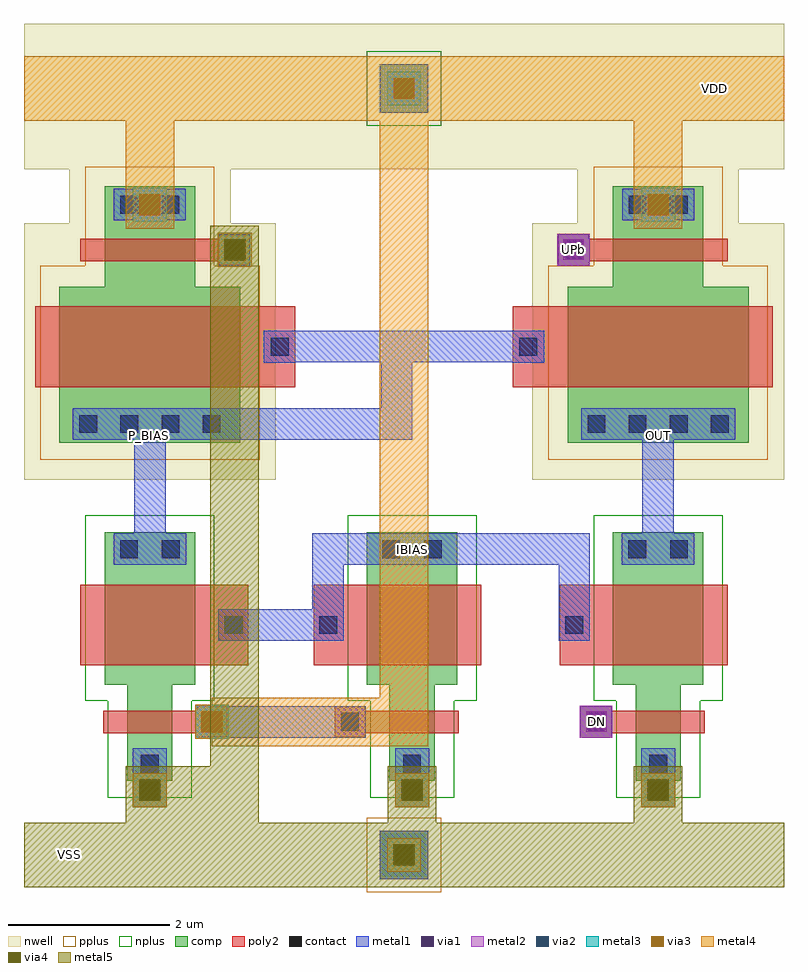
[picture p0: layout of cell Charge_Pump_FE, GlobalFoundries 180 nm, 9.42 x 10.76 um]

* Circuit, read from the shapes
.subckt Charge_Pump_FE DN IBIAS OUT P_BIAS UPb VDD VSS
XM1 P_BIAS IBIAS n1 VSS nfet_03v3 w=1.12u l=1u
XM2 n1 VDD VSS VSS nfet_03v3 w=0.56u l=0.28u
XM3 IBIAS IBIAS n2 VSS nfet_03v3 w=1.12u l=1u
XM4 n2 VDD VSS VSS nfet_03v3 w=0.56u l=0.28u
XM5 OUT IBIAS n3 VSS nfet_03v3 w=1.12u l=1u
XM6 n3 DN VSS VSS nfet_03v3 w=0.56u l=0.28u
XM7 n4 P_BIAS P_BIAS VDD pfet_03v3 w=2.24u l=1u
XM8 VDD VSS n4 VDD pfet_03v3 w=1.12u l=0.28u
XM9 n5 P_BIAS OUT VDD pfet_03v3 w=2.24u l=1u
XM10 VDD UPb n5 VDD pfet_03v3 w=1.12u l=0.28u
.ends

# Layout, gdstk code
from math import pi, radians
import gdstk
lib = gdstk.Library(unit=1e-6, precision=1e-09)
def R(c, l, rs):  # rectangles x0, y0, x1, y1
    for r in rs: c.add(gdstk.rectangle(r[:2], r[2:], *l))
def A(c, l, x, y, w, h, nx, ny, dx, dy):  # array of equal rectangles
    R(c, l, [(x+i*dx, y+j*dy, x+i*dx+w, y+j*dy+h) for i in range(nx) for j in range(ny)])
nwell = (21, 0)
comp = (22, 0)
poly2 = (30, 0)
pplus = (31, 0)
nplus = (32, 0)
contact = (33, 0)
metal1 = (34, 0)
via1 = (35, 0)
metal2 = (36, 0)
via2 = (38, 0)
via3 = (40, 0)
via4 = (41, 0)
metal3 = (42, 0)
metal4 = (46, 0)
metal5 = (81, 0)

nmos_shared_diffusion = lib.new_cell('NMOS_Shared_Diffusion')
R(nmos_shared_diffusion, comp, [(-0.56,-0.75,0.56,-0.33), (-0.56,-0.33,0.56,1.14), (-0.28,0.83,0.28,1.25), (-0.28,1.25,0.28,1.91), (-0.28,1.91,0.28,2.33)])
R(nmos_shared_diffusion, poly2, [(-0.86,-0.1,0.86,0.9), (0.86,-0.1,1.22,0.9), (0.58,1.41,0.96,1.79), (-0.58,1.46,0.58,1.74)])
R(nmos_shared_diffusion, nplus, [(-0.8,-0.96,0.8,1.34), (-0.52,0.66,0.52,2.54)])
R(nmos_shared_diffusion, contact, [(-0.37,-0.65,-0.15,-0.43), (0.15,-0.65,0.37,-0.43), (0.93,0.29,1.15,0.51), (0.66,1.49,0.88,1.71), (-0.11,2.01,0.11,2.23)])
R(nmos_shared_diffusion, metal1, [(-0.45,-0.735,0.45,-0.345), (0.845,0.205,1.235,0.595), (0.575,1.405,0.965,1.795), (-0.195,1.93,0.195,2.32)])

pmos_shared_diffusion = lib.new_cell('PMOS_Shared_Diffusion')
R(pmos_shared_diffusion, nwell, [(-1,-1.3,1,1.2), (-1.56,-0.33,1.56,2.85)])
R(pmos_shared_diffusion, comp, [(-0.56,-0.79,0.56,-0.33), (-0.56,-0.33,0.56,0.33), (-0.56,0.33,0.56,0.79), (-1.12,0.46,1.12,1.93), (-1.12,1.93,1.12,2.39)])
R(pmos_shared_diffusion, poly2, [(0.86,-0.19,1.24,0.19), (-0.86,-0.14,0.86,0.14), (-1.42,0.7,1.42,1.7), (1.42,0.7,1.8,1.7)])
R(pmos_shared_diffusion, pplus, [(-0.8,-1.03,0.8,0.93), (-1.36,0.2,1.36,2.6)])
A(pmos_shared_diffusion, contact, -0.875, 2.05, 0.22, 0.22, 4, 1, 0.51, 0)
R(pmos_shared_diffusion, contact, [(-0.365,-0.67,-0.145,-0.45), (0.145,-0.67,0.365,-0.45), (0.94,-0.11,1.16,0.11), (1.5,1.09,1.72,1.31)])
R(pmos_shared_diffusion, metal1, [(-0.445,-0.755,0.445,-0.365), (0.855,-0.195,1.245,0.195), (1.41,1,1.81,1.4), (-0.955,1.965,0.955,2.355)])

charge_pump_block = lib.new_cell('Charge_Pump_Block')
charge_pump_block.add(gdstk.FlexPath([(0,-0.925),(0,0.69)], 0.39, ends="flush", simple_path=True, layer=34, datatype=0))  # metal1
charge_pump_block.add(gdstk.Reference(nmos_shared_diffusion, (0,-1.45), rotation=pi))
charge_pump_block.add(gdstk.Reference(pmos_shared_diffusion, (0,2.8), rotation=pi))

supply_and_tap_repairs = lib.new_cell('Supply_and_Tap_Repairs')
R(supply_and_tap_repairs, nwell, [(-4.56,3.3,4.86,5.1)])
R(supply_and_tap_repairs, comp, [(-0.15,-5.5,0.45,-4.9), (-0.15,4,0.45,4.6)])
R(supply_and_tap_repairs, pplus, [(-0.31,-5.66,0.61,-4.74)])
R(supply_and_tap_repairs, nplus, [(-0.31,3.84,0.61,4.76)])
R(supply_and_tap_repairs, contact, [(0.04,-5.31,0.26,-5.09), (0.04,4.19,0.26,4.41)])
R(supply_and_tap_repairs, metal1, [(-0.15,-5.5,0.45,-4.9), (-0.06,-5.41,0.36,-4.99), (-3.21,-4.61,-2.79,-4.19), (-3.21,-4.61,-2.79,-3.88), (0.04,-4.61,0.46,-4.19), (0.04,-4.61,0.46,-3.88), (3.09,-4.61,3.51,-4.19), (3.09,-4.61,3.51,-3.88), (-2.44,-3.76,-2.02,-3.34), (-3.21,2.65,-2.79,3.07), (3.09,2.65,3.51,3.07), (-0.15,4,0.45,4.6), (-0.06,4.09,0.36,4.51)])
R(supply_and_tap_repairs, via1, [(0.02,-5.33,0.28,-5.07), (-3.13,-4.53,-2.87,-4.27), (0.12,-4.53,0.38,-4.27), (3.17,-4.53,3.43,-4.27), (-2.36,-3.68,-2.1,-3.42), (-3.13,2.73,-2.87,2.99), (3.17,2.73,3.43,2.99), (0.02,4.17,0.28,4.43)])
R(supply_and_tap_repairs, metal2, [(-0.06,-5.41,0.36,-4.99), (-3.21,-4.61,-2.79,-4.19), (0.04,-4.61,0.46,-4.19), (3.09,-4.61,3.51,-4.19), (-2.44,-3.76,-2.02,-3.34), (-2.16,2.09,-1.74,2.51), (-3.21,2.65,-2.79,3.07), (3.09,2.65,3.51,3.07), (-0.06,4.09,0.36,4.51)])
R(supply_and_tap_repairs, via2, [(0.02,-5.33,0.28,-5.07), (-3.13,-4.53,-2.87,-4.27), (0.12,-4.53,0.38,-4.27), (3.17,-4.53,3.43,-4.27), (-2.36,-3.68,-2.1,-3.42), (-2.08,2.17,-1.82,2.43), (-3.13,2.73,-2.87,2.99), (3.17,2.73,3.43,2.99), (0.02,4.17,0.28,4.43)])
R(supply_and_tap_repairs, via3, [(0.02,-5.33,0.28,-5.07), (-3.13,-4.53,-2.87,-4.27), (0.12,-4.53,0.38,-4.27), (3.17,-4.53,3.43,-4.27), (-2.36,-3.68,-2.1,-3.42), (-2.08,2.17,-1.82,2.43), (-3.13,2.73,-2.87,2.99), (3.17,2.73,3.43,2.99), (0.02,4.17,0.28,4.43)])
R(supply_and_tap_repairs, via4, [(0.02,-5.33,0.28,-5.07), (-3.13,-4.53,-2.87,-4.27), (0.12,-4.53,0.38,-4.27), (3.17,-4.53,3.43,-4.27), (-2.08,2.17,-1.82,2.43)])
R(supply_and_tap_repairs, metal3, [(-0.06,-5.41,0.36,-4.99), (-3.21,-4.61,-2.79,-4.19), (0.04,-4.61,0.46,-4.19), (3.09,-4.61,3.51,-4.19), (-2.44,-3.76,-2.02,-3.34), (-2.16,2.09,-1.74,2.51), (-3.21,2.65,-2.79,3.07), (3.09,2.65,3.51,3.07), (-0.06,4.09,0.36,4.51)])
R(supply_and_tap_repairs, metal4, [(-0.06,-5.41,0.36,-4.99), (-3.21,-4.61,-2.79,-4.19), (0.04,-4.61,0.46,-4.19), (3.09,-4.61,3.51,-4.19), (-2.44,-3.76,-2.02,-3.34), (-2.16,2.09,-1.74,2.51), (-3.3,2.56,-2.7,4.6), (3,2.56,3.6,4.6), (-3.21,2.65,-2.79,3.07), (3.09,2.65,3.51,3.07), (-4.56,3.9,4.86,4.7), (-0.15,4,0.45,4.6), (-0.06,4.09,0.36,4.51)])
R(supply_and_tap_repairs, metal5, [(-4.56,-5.6,4.86,-4.8), (-3.3,-5.5,-2.7,-4.1), (-2.25,-5.5,-1.65,2.6), (-0.05,-5.5,0.55,-4.1), (3,-5.5,3.6,-4.1), (-0.06,-5.41,0.36,-4.99), (-2.7,-4.8,-2.25,-4.1), (-3.21,-4.61,-2.79,-4.19), (0.04,-4.61,0.46,-4.19), (3.09,-4.61,3.51,-4.19), (-2.16,2.09,-1.74,2.51)])
supply_and_tap_repairs.add(gdstk.FlexPath([(-2.23,-3.55),(0.15,-3.55),(0.15,4.3)], 0.6, ends="flush", simple_path=True, layer=46, datatype=0))  # metal4

charge_pump_fe = lib.new_cell('Charge_Pump_FE')
R(charge_pump_fe, via1, [(-2.36,-3.68,-2.1,-3.42), (2.4,-3.68,2.66,-3.42), (-2.08,2.17,-1.82,2.43), (2.12,2.17,2.38,2.43)])
R(charge_pump_fe, metal2, [(2.33,-3.75,2.73,-3.35), (-2.15,2.1,-1.75,2.5), (2.05,2.1,2.45,2.5)])
charge_pump_fe.add(gdstk.FlexPath([(-1.96,-2.35),(-0.79,-2.35)], 0.39, ends="flush", simple_path=True, layer=34, datatype=0))  # metal1
charge_pump_fe.add(gdstk.FlexPath([(-0.79,-2.35),(-0.79,-1.41),(0.25,-1.41)], 0.39, ends="flush", simple_path=True, layer=34, datatype=0))  # metal1
charge_pump_fe.add(gdstk.FlexPath([(0.25,-1.41),(2.26,-1.41),(2.26,-2.35)], 0.39, ends="flush", simple_path=True, layer=34, datatype=0))  # metal1
charge_pump_fe.add(gdstk.FlexPath([(-3,0.14),(0.06,0.14),(0.06,1.1),(-1.39,1.1)], 0.39, ends="flush", simple_path=True, layer=34, datatype=0))  # metal1
charge_pump_fe.add(gdstk.FlexPath([(0.06,1.1),(1.69,1.1)], 0.39, ends="flush", simple_path=True, layer=34, datatype=0))  # metal1
charge_pump_fe.add(gdstk.FlexPath([(-0.52,-3.55),(-2.23,-3.55)], 0.39, ends="flush", simple_path=True, layer=34, datatype=0))  # metal1
charge_pump_fe.add(gdstk.Reference(nmos_shared_diffusion, (0.25,-1.95), rotation=pi))
charge_pump_fe.add(gdstk.Reference(charge_pump_block, (3.3,-0.5)))
charge_pump_fe.add(gdstk.Reference(charge_pump_block, (-3,-0.5), rotation=pi, x_reflection=True))
charge_pump_fe.add(gdstk.Reference(supply_and_tap_repairs, (0,0)))
charge_pump_fe.add(gdstk.Label('VDD', (4,4.3), layer=46, texttype=10))
charge_pump_fe.add(gdstk.Label('VSS', (-4,-5.2), layer=81, texttype=10))
charge_pump_fe.add(gdstk.Label('UPb', (2.25,2.3), layer=36, texttype=10))
charge_pump_fe.add(gdstk.Label('DN', (2.53,-3.55), layer=36, texttype=10))
charge_pump_fe.add(gdstk.Label('IBIAS', (0.25,-1.41), layer=34, texttype=10))
charge_pump_fe.add(gdstk.Label('OUT', (3.3,0), layer=34, texttype=10))
charge_pump_fe.add(gdstk.Label('P_BIAS', (-3,0), layer=34, texttype=10))

lib.write_gds('Charge_Pump_FE.gds')
